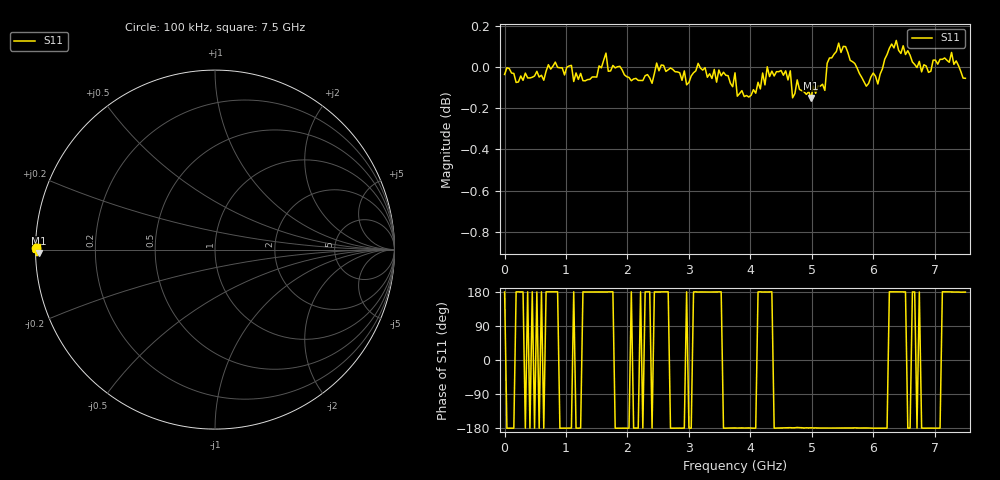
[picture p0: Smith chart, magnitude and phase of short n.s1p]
# Hz S RI R 50.000000
! FREQ  re:S1  1  im:S1  1
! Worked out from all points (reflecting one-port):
!   201 points, 100 kHz to 7.5 GHz, reference 50 ohm
!   lowest |S11| = -0.1 dB at 4.987 GHz (marker M1), VSWR 116.32, Z = 0.43 - j0.544 ohm
!   phase of S11 starts at 179 deg and turns -0 deg over the sweep
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100000  -0.9959 0.0109
7.5098e7  -0.9993 -0.00154
9.37575e8  -0.9997 -0.00166
1.237567e9  -0.9965 -0.0101
1.312565e9  -0.9924 0.00878
1.87505e9  -1 -0.00207
2.812525e9  -0.9974 -0.00296
3.262513e9  -0.9996 0.0135
3.75e9  -0.9968 -0.0138
3.787499e9  -0.9839 -0.00606
3.974994e9  -0.9833 -0.0139
4.199988e9  -0.9967 0.011
4.649976e9  -0.9977 -0.0252
4.687475e9  -0.9829 -0.0169
4.762473e9  -0.9923 -0.0346
4.87497e9  -0.9862 -0.0115
4.987467e9  -0.9827 -0.0214
5.212461e9  -0.9871 -0.00804
5.24996e9  -1.002 -0.00639
5.437455e9  -1.014 -0.00996
5.62495e9  -1.004 -0.0113
5.887443e9  -0.9893 -0.0127
6.449928e9  -1.008 0.00622
6.562425e9  -1.009 -0.00516
6.674922e9  -1.001 0.00913
6.899916e9  -0.9971 -0.00473
7.274906e9  -1.008 0.00495
7.4999e9  -0.9937 0.0144
